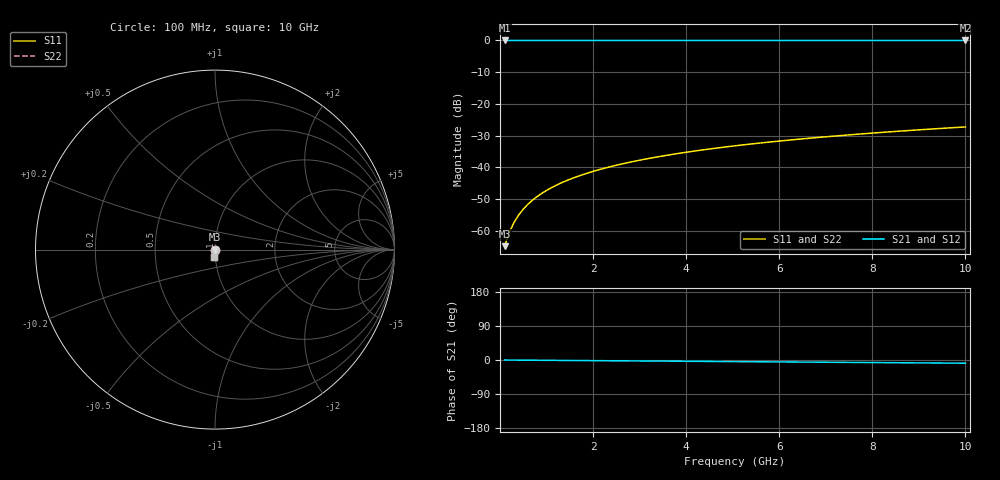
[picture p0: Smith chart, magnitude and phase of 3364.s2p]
# Hz S RI R 50.00
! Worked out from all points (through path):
!   100 points, 100 MHz to 10 GHz, reference 50 ohm
!   highest |S21| = 0.00 dB at 100 MHz (marker M1); lowest = 0.0 dB at 10 GHz (marker M2)
!   group delay of S21, straight-line fit = 2.35 ps
!   lowest |S11| = -64.8 dB at 100 MHz (marker M3), VSWR 1.00, Z = 50 - j0.0432 ohm
!   |S11| at or under -10 dB: start of sweep to end of sweep
!   |S22| runs from -64.8 to -27.3 dB; largest |S21 - S12| = 0
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1e8  0.000377 -0.000432  0.9996 -0.00147  0.9996 -0.00147  0.000377 -0.000432
2e8  0.000377 -0.000864  0.9996 -0.00293  0.9996 -0.00293  0.000377 -0.000864
3e8  0.000375 -0.0013  0.9996 -0.0044  0.9996 -0.0044  0.000375 -0.0013
4e8  0.000371 -0.00173  0.9996 -0.00586  0.9996 -0.00586  0.000371 -0.00173
5e8  0.000366 -0.00216  0.9996 -0.00733  0.9996 -0.00733  0.000366 -0.00216
6e8  0.000359 -0.00259  0.9996 -0.00879  0.9996 -0.00879  0.000359 -0.00259
7e8  0.000351 -0.00302  0.9995 -0.0103  0.9995 -0.0103  0.000351 -0.00302
8e8  0.000341 -0.00346  0.9995 -0.0117  0.9995 -0.0117  0.000341 -0.00346
9e8  0.000331 -0.00389  0.9995 -0.0132  0.9995 -0.0132  0.000331 -0.00389
1.1e9  0.000305 -0.00475  0.9995 -0.0161  0.9995 -0.0161  0.000305 -0.00475
1.4e9  0.000257 -0.00605  0.9994 -0.0205  0.9994 -0.0205  0.000257 -0.00605
1.8e9  0.000175 -0.00778  0.9992 -0.0264  0.9992 -0.0264  0.000175 -0.00778
2.1e9  0.0001 -0.00907  0.9991 -0.0308  0.9991 -0.0308  0.0001 -0.00907
2.5e9  -1.8e-05 -0.0108  0.9988 -0.0367  0.9988 -0.0367  -1.8e-05 -0.0108
2.9e9  -0.000157 -0.0125  0.9986 -0.0425  0.9986 -0.0425  -0.000157 -0.0125
3.4e9  -0.000359 -0.0147  0.9982 -0.0499  0.9982 -0.0499  -0.000359 -0.0147
4.2e9  -0.000749 -0.0181  0.9975 -0.0616  0.9975 -0.0616  -0.000749 -0.0181
5.1e9  -0.00129 -0.022  0.9965 -0.0748  0.9965 -0.0748  -0.00129 -0.022
5.9e9  -0.00185 -0.0255  0.9954 -0.0866  0.9954 -0.0866  -0.00185 -0.0255
6.7e9  -0.0025 -0.0289  0.9942 -0.0983  0.9942 -0.0983  -0.0025 -0.0289
8.4e9  -0.00414 -0.0362  0.9912 -0.1233  0.9912 -0.1233  -0.00414 -0.0362
1e10  -0.00603 -0.0429  0.9877 -0.1467  0.9877 -0.1467  -0.00603 -0.0429
